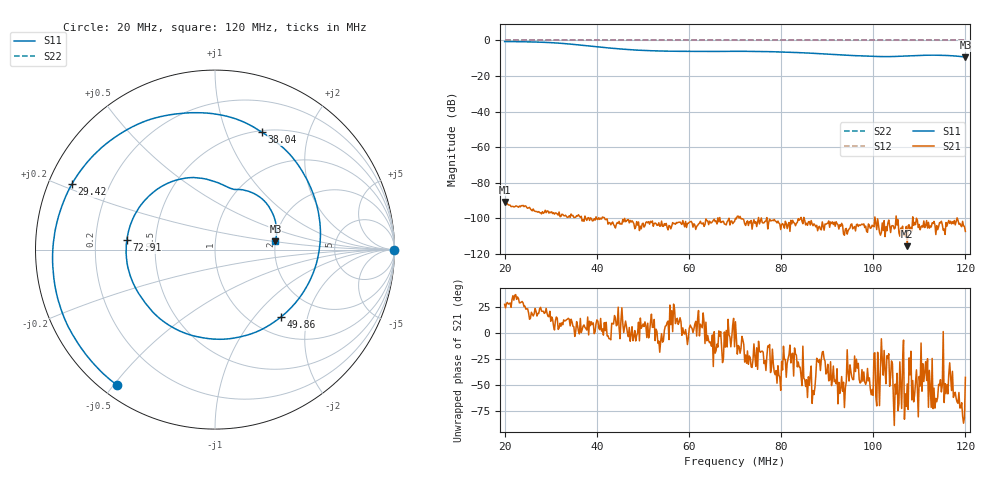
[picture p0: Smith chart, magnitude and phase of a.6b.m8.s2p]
! Anritsu VNA Master:  Model: MS2036C/10/77
! SN:  1601066
! /bd0/18may07/256.ns.m8.s2p
! Existing Calibration Information:
! TYPE:  Current Settings,  Active Cal Settings
! TIME:  05/07/2018 03:19:56 PM,  05/07/2018 03:13:55 PM
! INTERNAL TEMP:  61.3 C,  60.5 C
! # POINTS:  500,  500
! START FREQ:  20.000 MHz,  20.000 MHz
! STOP FREQ:  120.000 MHz,  120.000 MHz
! SOURCE POWER:  High,  High
! IFBW:  50 Hz,  50 Hz
! AVG FACTOR:  1 ,  1
! REF PLANE 1:  0 mm,  0 mm
! REF PLANE 2:  0 mm,  0 mm
! CAL TYPE:  Full S11,  Full S11
! CAL METHOD:  SOLT,  SOLT
! CAL LINE TYPE:  Coax,  Coax
! DUT PORT 1:  K-Conn(F),  K-Conn(F)
! DUT PORT 2:  K-Conn(F),  K-Conn(F)
! CAL STATUS:  OK: Accuracy High,  --
# GHZ S DB R 50.0
! FREQ.GHZ  S11DB  S11A  S21DB  S21A  S12DB  S12A  S22DB  S22A
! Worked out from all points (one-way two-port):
!   500 points, 20 MHz to 120 MHz, reference 50 ohm
!   highest |S21| = -90.77 dB at 20 MHz (marker M1); lowest = -115.6 dB at 107.4 MHz (marker M2)
!   lowest |S11| = -9.4 dB at 120 MHz (marker M3), VSWR 2.03, Z = 100 + j10.2 ohm
!   |S11| at or under -10 dB: nowhere
!   |S22| runs from 0.0 to 0.0 dB; largest |S21 - S12| = 1
!   S11 on the Smith chart (normalised r, x): 20 MHz: 0.04, -0.51; 29.42 MHz: 0.07, +0.22; 38.04 MHz: 0.52, +1.34; 49.86 MHz: 1.34, -1.39; 72.91 MHz: 0.34, +0.05; 120 MHz: 2.00, +0.20
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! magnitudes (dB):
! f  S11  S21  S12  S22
! 20 MHz  -0.6  -90.8  0.0  0.0
! 24.81 MHz  -0.8  -93.9  0.0  0.0
! 29.42 MHz  -1.1  -95.9  0.0  0.0
! 33.03 MHz  -1.7  -98.6  0.0  0.0
! 36.83 MHz  -2.7  -101.5  0.0  0.0
! 38.04 MHz  -3.0  -99.8  0.0  0.0
! 44.45 MHz  -4.6  -102.3  0.0  0.0
! 49.86 MHz  -5.6  -103.1  0.0  0.0
! 53.47 MHz  -5.9  -102.5  0.0  0.0
! 63.69 MHz  -6.2  -100.3  0.0  0.0
! 70.1 MHz  -6.1  -99.9  0.0  0.0
! 72.91 MHz  -6.1  -104.0  0.0  0.0
! 79.12 MHz  -6.4  -102.6  0.0  0.0
! 86.73 MHz  -7.2  -103.1  0.0  0.0
! 97.76 MHz  -8.7  -103.6  0.0  0.0
! 101.2 MHz  -9.0  -104.0  0.0  0.0
! 103.4 MHz  -9.1  -101.0  0.0  0.0
! 107.4 MHz  -8.7  -115.6  0.0  0.0
! 111.4 MHz  -8.3  -104.1  0.0  0.0
! 114 MHz  -8.3  -106.4  0.0  0.0
! 117.2 MHz  -8.6  -101.9  0.0  0.0
! 120 MHz  -9.4  -107.4  0.0  0.0
